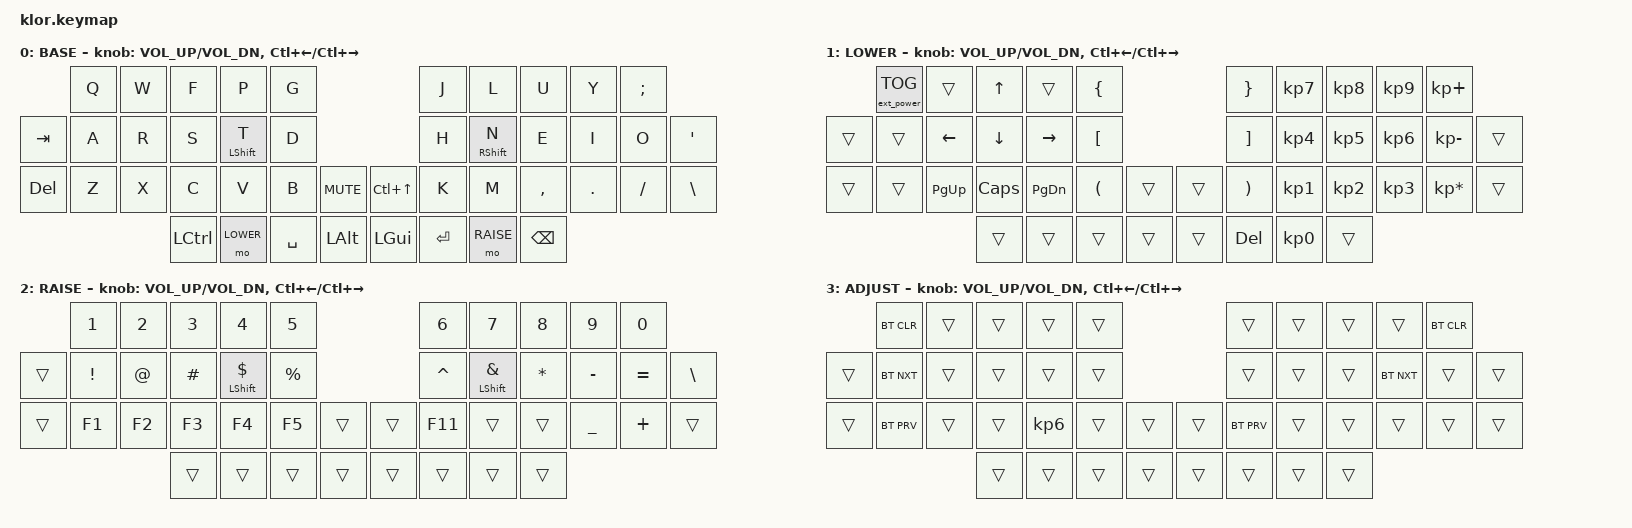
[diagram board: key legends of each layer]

//                               █         █    █            ▄▄▄▀▀▀▀▀▀▄▄▄        █▀▀▀▀▀▀▀▀▀▀█
//                               █        █     █          ▄▀            ▀▄      █          █
//                               █       █      █        ▄▀                ▀▄    █          █
//                               █      █       █        █                  █    █          █
//                               █     █        █       █                    █   █          █
//                               █    █         █       █                    █   █▄▄▄▄▄▄▄▄▄▄█
//                               █   █ █        █       █                    █   █      █
//                               █  █   █       █        █                  █    █       █
//                               █ █     █      █        ▀▄                ▄▀    █        █
//                               ██       █     █          ▀▄            ▄▀      █         █
//                               █         █    █▄▄▄▄▄▄▄▄    ▀▀▀▄▄▄▄▄▄▀▀▀        █          █
//
// ▄▄▄▄▄▄▄▄▄▄▄▄▄▄▄▄▄▄▄▄▄▄▄▄▄▄▄▄▄▄▄▄▄▄▄▄▄▄▄▄▄▄▄▄▄▄▄▄▄▄▄▄▄▄▄▄▄▄▄▄▄▄▄▄▄▄▄▄▄▄▄▄▄▄▄▄▄▄▄▄▄▄▄▄▄▄▄▄▄▄▄▄▄▄▄▄▄▄▄▄▄▄▄▄▄▄▄▄▄▄▄▄▄▄▄▄▄▄▄▄▄▄▄▄▄
       
#include <behaviors.dtsi>
#include <dt-bindings/zmk/keys.h>
#include <dt-bindings/zmk/bt.h>
#include <dt-bindings/zmk/outputs.h>
#include <dt-bindings/zmk/ext_power.h>

#define BASE   0
#define LOWER  1
#define RAISE  2
#define ADJUST 3


/ {
    behaviors {
        hm: homerow_mods {
            compatible = "zmk,behavior-hold-tap";
            label = "HOMEROW_MODS";
            #binding-cells = <2>;
            tapping-term-ms = <150>;
            quick_tap_ms = <0>;
            flavor = "tap-preferred";
            bindings = <&kp>, <&kp>;
        };

    };

     combos {
            compatible = "zmk,combos";
            combo_esc {
                timeout-ms = <50>;
                key-positions = <0 1>;
                bindings = <&kp ESC>;
            };
    };



        keymap {
                compatible = "zmk,keymap";
// ▄▄▄▄▄▄▄▄▄▄▄▄▄▄▄▄▄▄▄▄▄▄▄▄▄▄▄▄▄▄▄▄▄▄▄▄▄▄▄▄▄▄▄▄▄▄▄▄▄▄▄▄▄▄▄▄▄▄▄▄▄▄▄▄▄▄▄▄▄▄▄▄▄▄▄▄▄▄▄▄▄▄▄▄▄▄▄▄▄▄▄▄▄▄▄▄▄▄▄▄▄▄▄▄▄▄▄▄▄▄▄▄▄▄▄▄▄▄▄▄▄▄▄▄▄▄▄▄▄▄▄▄▄▄▄▄▄▄▄▄▄▄


                base_layer {
// ┌───────────────────────────────────────────────────────────┐
label= "BASE"                                                  ;
// └───────────────────────────────────────────────────────────┘
/*           ┌─────────┬─────────┬─────────┬─────────┬─────────┐                    ┌─────────┬─────────┬─────────┬─────────┬─────────┐
             │    Q    │    W    │    F    │    P    │    G    │                    │    J    │    L    │    U    │    Y    │    ;    │   
   ┌─────────┼─────────┼─────────┼─────────┼─────────┼─────────┤                    ├─────────┼─────────┼─────────┼─────────┼─────────┼─────────┐
   │   TAB   │    A    │    R    │    S    │    T    │    D    │                    │    H    │    N    │    E    │    I    │    O    │    "    │
   ├─────────┼─────────┼─────────┼─────────┼─────────┼─────────┤╭────────╮╭────────╮├─────────┼─────────┼─────────┼─────────┼─────────┼─────────┤
   │   DEL   │    Z    │    X    │    C    │    V    │    B    ││  MUTE  ││PLY/PSE ││    K    │    M    │    ,    │    .    │    /    │    \    │
   └─────────┴─────────┴─────────┼─────────┼─────────┼─────────┼╰────────╯╰────────╯┼─────────┼─────────┼─────────┼─────────┴─────────┴─────────┘
                                 │  CTRL   │  LOWER  │  SPACE  │   ALT   ││ CMD/WIN │  ENTER  │  RAISE  │  BSPCE  │  
                                 └─────────┴─────────┴─────────┴─────────┘└─────────┴─────────┴─────────┴─────────┘ */ 
 bindings = <
 //╷         ╷         ╷         ╷         ╷         ╷         ╷         ╷╷         ╷         ╷         ╷         ╷         ╷         ╷         ╷
              &kp Q     &kp W     &kp F     &kp P     &kp G                          &kp J     &kp L     &kp U     &kp Y     &kp SEMI
    &kp TAB   &kp A     &kp R     &kp S   &hm LSHFT T &kp D                          &kp H   &hm RSHFT N &kp E     &kp I     &kp O     &kp SQT
    &kp DEL   &kp Z     &kp X     &kp C     &kp V     &kp B     &kp K_MUTE  &kp LC(UP)   &kp K     &kp M     &kp COMMA &kp DOT   &kp FSLH  &kp BSLH
                                  &kp LCTRL &mo LOWER &kp SPACE &kp LALT   &kp LGUI  &kp RET   &mo RAISE &kp BSPC    
                        >;
            sensor-bindings = <&inc_dec_kp C_VOL_UP C_VOL_DN &inc_dep_kp LC(LEFT) LC(RIGHT)>;
                };

// ▄▄▄▄▄▄▄▄▄▄▄▄▄▄▄▄▄▄▄▄▄▄▄▄▄▄▄▄▄▄▄▄▄▄▄▄▄▄▄▄▄▄▄▄▄▄▄▄▄▄▄▄▄▄▄▄▄▄▄▄▄▄▄▄▄▄▄▄▄▄▄▄▄▄▄▄▄▄▄▄▄▄▄▄▄▄▄▄▄▄▄▄▄▄▄▄▄▄▄▄▄▄▄▄▄▄▄▄▄▄▄▄▄▄▄▄▄▄▄▄▄▄▄▄▄▄▄▄▄▄▄▄▄▄▄▄▄▄▄▄▄▄


                lower_layer {
// ┌───────────────────────────────────────────────────────────┐
label= "LOWER"                                                 ;
// └───────────────────────────────────────────────────────────┘
/*           ┌─────────┬─────────┬─────────┬─────────┬─────────┐                    ┌─────────┬─────────┬─────────┬─────────┬─────────┐
             │         │         │    UP   │         │    {    │                    │    }    │    7    │    8    │    9    │    +    │
   ┌─────────┼─────────┼─────────┼─────────┼─────────┼─────────┤                    ├─────────┼─────────┼─────────┼─────────┼─────────┼─────────┐
   │         │         │   LEFT  │  DOWN   │  RIGHT  │    [    │                    │    ]    │    4    │    5    │    6    │    -    │         │
   ├─────────┼─────────┼─────────┼─────────┼─────────┼─────────┤╭────────╮╭────────╮├─────────┼─────────┼─────────┼─────────┼─────────┼─────────┤
   │         │         │   P UP  │ C LOCK  │ P DOWN  │    (    ││        ││        ││    )    │    1    │    2    │    3    │    *    │         │
   └─────────┴─────────┴─────────┼─────────┼─────────┼─────────┼╰────────╯╰────────╯┼─────────┼─────────┼─────────┼─────────┴─────────┴─────────┘
                                 │         │         │         │         ││         │         │    0    │         │  
                                 └─────────┴─────────┴─────────┴─────────┘└─────────┴─────────┴─────────┴─────────┘ */ 
 bindings = <
 //╷         ╷         ╷         ╷         ╷         ╷         ╷         ╷╷         ╷         ╷         ╷         ╷         ╷         ╷         ╷
    &ext_power EP_TOG   &trans    &kp UP    &trans    &kp LBRC                       &kp RBRC  &kp KP_N7 &kp KP_N8 &kp KP_N9 &kp KP_PLUS
    &trans    &trans    &kp LEFT  &kp DOWN  &kp RIGHT &kp LBKT                       &kp RBKT  &kp KP_N4 &kp KP_N5 &kp KP_N6 &kp KP_MINUS &trans
    &trans    &trans    &kp PG_UP &kp CAPS  &kp PG_DN &kp LPAR  &trans     &trans    &kp RPAR  &kp KP_N1 &kp KP_N2 &kp KP_N3 &kp KP_MULTIPLY &trans
                                  &trans    &trans    &trans    &trans     &trans    &kp DELETE &kp KP_N0 &trans  
                        >;
            sensor-bindings = <&inc_dec_kp C_VOL_UP C_VOL_DN &inc_dep_kp LC(LEFT) LC(RIGHT)>;
                };

// ▄▄▄▄▄▄▄▄▄▄▄▄▄▄▄▄▄▄▄▄▄▄▄▄▄▄▄▄▄▄▄▄▄▄▄▄▄▄▄▄▄▄▄▄▄▄▄▄▄▄▄▄▄▄▄▄▄▄▄▄▄▄▄▄▄▄▄▄▄▄▄▄▄▄▄▄▄▄▄▄▄▄▄▄▄▄▄▄▄▄▄▄▄▄▄▄▄▄▄▄▄▄▄▄▄▄▄▄▄▄▄▄▄▄▄▄▄▄▄▄▄▄▄▄▄


                raise_layer {
// ┌───────────────────────────────────────────────────────────┐
label= "RAISE"                                                 ;
// └───────────────────────────────────────────────────────────┘
/*           ┌─────────┬─────────┬─────────┬─────────┬─────────┐                    ┌─────────┬─────────┬─────────┬─────────┬─────────┐
             │         │         │         │         │         │                    │         │         │    Ü    │         │         │
   ┌─────────┼─────────┼─────────┼─────────┼─────────┼─────────┤                    ├─────────┼─────────┼─────────┼─────────┼─────────┼─────────┐
   │    Ä    │         │    ß    │         │         │         │                    │         │         │         │         │    Ö    │         │
   ├─────────┼─────────┼─────────┼─────────┼─────────┼─────────┤╭────────╮╭────────╮├─────────┼─────────┼─────────┼─────────┼─────────┼─────────┤
   │         │         │         │         │         │         ││        ││        ││         │         │         │         │         │         │
   └─────────┴─────────┴─────────┼─────────┼─────────┼─────────┼╰────────╯╰────────╯┼─────────┼─────────┼─────────┼─────────┴─────────┴─────────┘
                                 │ ADJUST  │         │         │         ││         │         │         │         │  
                                 └─────────┴─────────┴─────────┴─────────┘└─────────┴─────────┴─────────┴─────────┘ */ 
 bindings = <
 //╷         ╷       ╷       ╷       ╷       ╷              ╷         ╷╷         ╷         ╷                 ╷       ╷                ╷         ╷         ╷
              &kp N1  &kp N2  &kp N3  &kp N4  &kp N5                                &kp N6      &kp N7      &kp N8      &kp N9         &kp N0         
    &trans    &kp EXCL  &kp AT  &kp HASH  &mt LSHFT DLLR  &kp PRCNT                 &kp CARET  &mt LSHFT AMPS     &kp ASTRK  &kp MINUS       &kp EQUAL    &kp BSLH  
    &trans    &kp F1  &kp F2  &kp F3  &kp F4  &kp F5         &trans     &trans      &kp F11    &trans       &trans     &kp UNDER          &kp PLUS      &trans
                              &trans  &trans  &trans         &trans     &trans    &trans    &trans            &trans  
                        >;
            sensor-bindings = <&inc_dec_kp C_VOL_UP C_VOL_DN &inc_dep_kp LC(LEFT) LC(RIGHT)>;
                };

// ▄▄▄▄▄▄▄▄▄▄▄▄▄▄▄▄▄▄▄▄▄▄▄▄▄▄▄▄▄▄▄▄▄▄▄▄▄▄▄▄▄▄▄▄▄▄▄▄▄▄▄▄▄▄▄▄▄▄▄▄▄▄▄▄▄▄▄▄▄▄▄▄▄▄▄▄▄▄▄▄▄▄▄▄▄▄▄▄▄▄▄▄▄▄▄▄▄▄▄▄▄▄▄▄▄▄▄▄▄▄▄▄▄▄▄▄▄▄▄▄▄▄▄▄▄


                adjust_layer {
// ┌───────────────────────────────────────────────────────────┐
label= "ADJUST"                                                ;
// └───────────────────────────────────────────────────────────┘
/*           ┌─────────┬─────────┬─────────┬─────────┬─────────┐                    ┌─────────┬─────────┬─────────┬─────────┬─────────┐
             │         │         │         │         │         │                    │         │         │         │         │         │
   ┌─────────┼─────────┼─────────┼─────────┼─────────┼─────────┤                    ├─────────┼─────────┼─────────┼─────────┼─────────┼─────────┐
   │         │         │         │         │         │         │                    │         │         │         │         │         │         │
   ├─────────┼─────────┼─────────┼─────────┼─────────┼─────────┤╭────────╮╭────────╮├─────────┼─────────┼─────────┼─────────┼─────────┼─────────┤
   │         │         │         │         │         │         ││        ││        ││         │         │         │         │         │         │
   └─────────┴─────────┴─────────┼─────────┼─────────┼─────────┼╰────────╯╰────────╯┼─────────┼─────────┼─────────┼─────────┴─────────┴─────────┘
                                 │         │         │         │         ││         │         │         │         │  
                                 └─────────┴─────────┴─────────┴─────────┘└─────────┴─────────┴─────────┴─────────┘ */ 
 bindings = <
 //╷         ╷         ╷         ╷         ╷         ╷         ╷         ╷╷         ╷         ╷         ╷         ╷         ╷         ╷         ╷
             &bt BT_CLR &trans    &trans    &trans    &trans                         &trans    &trans    &trans    &trans    &bt BT_CLR   
    &trans   &bt BT_NXT &trans    &trans    &trans    &trans                         &trans    &trans    &trans    &bt BT_NXT &trans   &trans 
    &trans   &bt BT_PRV &trans    &trans    &kp KP_N6 &trans    &trans     &trans    &bt BT_PRV &trans   &trans    &trans    &trans    &trans    
                                  &trans    &trans    &trans    &trans     &trans    &trans    &trans    &trans    
                        >;
             sensor-bindings = <&inc_dec_kp C_VOL_UP C_VOL_DN &inc_dep_kp LC(LEFT) LC(RIGHT)>;
                };
        };
};
